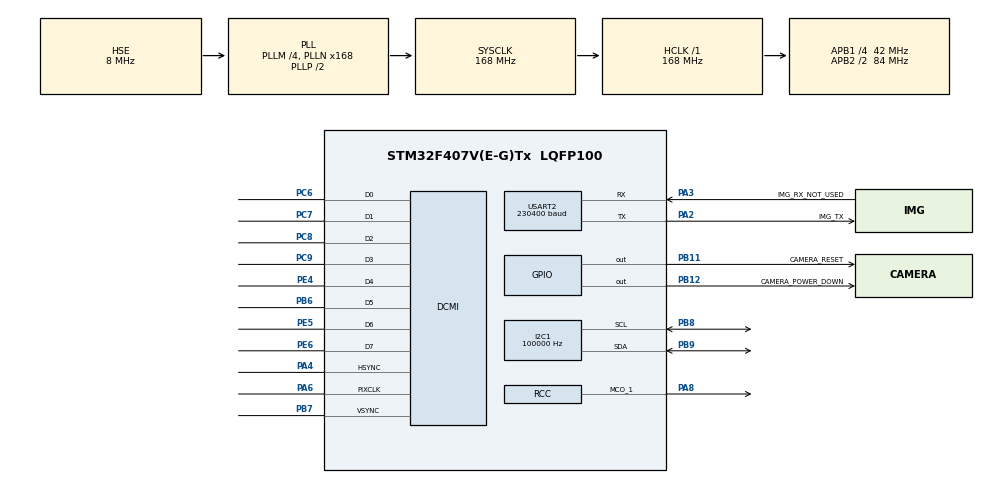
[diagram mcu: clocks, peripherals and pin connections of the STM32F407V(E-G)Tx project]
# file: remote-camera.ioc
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DCMI.JPEGMode=DCMI_JPEG_DISABLE
DCMI.PCKPolarity=DCMI_PCKPOLARITY_RISING
DCMI.VSPolarity=DCMI_VSPOLARITY_HIGH
Dma.DCMI.0.Direction=DMA_PERIPH_TO_MEMORY
Dma.DCMI.0.FIFOMode=DMA_FIFOMODE_DISABLE
Dma.DCMI.0.Instance=DMA2_Stream1
Dma.DCMI.0.MemDataAlignment=DMA_MDATAALIGN_WORD
Dma.DCMI.0.MemInc=DMA_MINC_ENABLE
Dma.DCMI.0.Mode=DMA_NORMAL
Dma.DCMI.0.PeriphDataAlignment=DMA_PDATAALIGN_WORD
Dma.DCMI.0.PeriphInc=DMA_PINC_DISABLE
Dma.DCMI.0.Priority=DMA_PRIORITY_LOW
Dma.Request0=DCMI
I2C1.ClockSpeed=100000
I2C1.I2C_Mode=I2C_Standard
Mcu.Family=STM32F4
Mcu.Name=STM32F407V(E-G)Tx
Mcu.Package=LQFP100
NVIC.DCMI_IRQn=true\:0\:0\:false\:false\:true\:true\:true\:true
NVIC.DMA2_Stream1_IRQn=true\:0\:0\:false\:false\:true\:false\:true\:true
NVIC.PriorityGroup=NVIC_PRIORITYGROUP_4
PA13.Mode=Serial_Wire
PA13.Signal=SYS_JTMS-SWDIO
PA14.Mode=Serial_Wire
PA14.Signal=SYS_JTCK-SWCLK
PA2.GPIO_Label=IMG_TX
PA2.Mode=Asynchronous
PA2.Signal=USART2_TX
PA3.GPIO_Label=IMG_RX_NOT_USED
PA3.Mode=Asynchronous
PA3.Signal=USART2_RX
PA4.GPIO_PuPd=GPIO_PULLDOWN
PA4.GPIO_Speed=GPIO_SPEED_FREQ_VERY_HIGH
PA4.Mode=Slave_8_bits_External_Synchro
PA4.Signal=DCMI_HSYNC
PA6.GPIO_PuPd=GPIO_PULLDOWN
PA6.GPIO_Speed=GPIO_SPEED_FREQ_VERY_HIGH
PA6.Mode=Slave_8_bits_External_Synchro
PA6.Signal=DCMI_PIXCLK
PA8.GPIO_Speed=GPIO_SPEED_FREQ_VERY_HIGH
PA8.Mode=Clock-out-1
PA8.Signal=RCC_MCO_1
PB11.GPIO_Label=CAMERA_RESET
PB11.Signal=GPIO_Output
PB12.GPIO_Label=CAMERA_POWER_DOWN
PB12.Signal=GPIO_Output
PB6.GPIO_PuPd=GPIO_PULLDOWN
PB6.GPIO_Speed=GPIO_SPEED_FREQ_VERY_HIGH
PB6.Mode=Slave_8_bits_External_Synchro
PB6.Signal=DCMI_D5
PB7.GPIO_PuPd=GPIO_PULLDOWN
PB7.GPIO_Speed=GPIO_SPEED_FREQ_VERY_HIGH
PB7.Mode=Slave_8_bits_External_Synchro
PB7.Signal=DCMI_VSYNC
PB8.GPIO_Pu=GPIO_PULLUP
PB8.Mode=I2C
PB8.Signal=I2C1_SCL
PB9.GPIO_Pu=GPIO_PULLUP
PB9.Mode=I2C
PB9.Signal=I2C1_SDA
PC6.GPIO_PuPd=GPIO_PULLDOWN
PC6.GPIO_Speed=GPIO_SPEED_FREQ_VERY_HIGH
PC6.Mode=Slave_8_bits_External_Synchro
PC6.Signal=DCMI_D0
PC7.GPIO_PuPd=GPIO_PULLDOWN
PC7.GPIO_Speed=GPIO_SPEED_FREQ_VERY_HIGH
PC7.Mode=Slave_8_bits_External_Synchro
PC7.Signal=DCMI_D1
PC8.GPIO_PuPd=GPIO_PULLDOWN
PC8.GPIO_Speed=GPIO_SPEED_FREQ_VERY_HIGH
PC8.Mode=Slave_8_bits_External_Synchro
PC8.Signal=DCMI_D2
PC9.GPIO_PuPd=GPIO_PULLDOWN
PC9.GPIO_Speed=GPIO_SPEED_FREQ_VERY_HIGH
PC9.Mode=Slave_8_bits_External_Synchro
PC9.Signal=DCMI_D3
PE4.GPIO_PuPd=GPIO_PULLDOWN
PE4.GPIO_Speed=GPIO_SPEED_FREQ_VERY_HIGH
PE4.Mode=Slave_8_bits_External_Synchro
PE4.Signal=DCMI_D4
PE5.GPIO_PuPd=GPIO_PULLDOWN
PE5.GPIO_Speed=GPIO_SPEED_FREQ_VERY_HIGH
PE5.Mode=Slave_8_bits_External_Synchro
PE5.Signal=DCMI_D6
PE6.GPIO_PuPd=GPIO_PULLDOWN
PE6.GPIO_Speed=GPIO_SPEED_FREQ_VERY_HIGH
PE6.Mode=Slave_8_bits_External_Synchro
PE6.Signal=DCMI_D7
PH0-OSC_IN.Mode=HSE-External-Oscillator
PH0-OSC_IN.Signal=RCC_OSC_IN
PH1-OSC_OUT.Mode=HSE-External-Oscillator
PH1-OSC_OUT.Signal=RCC_OSC_OUT
ProjectManager.HeapSize=0x200
ProjectManager.StackSize=0x400
ProjectManager.TargetToolchain=STM32CubeIDE
RCC.48MHZClocksFreq_Value=84000000
RCC.AHBFreq_Value=168000000
RCC.APB1CLKDivider=RCC_HCLK_DIV4
RCC.APB1Freq_Value=42000000
RCC.APB1TimFreq_Value=84000000
RCC.APB2CLKDivider=RCC_HCLK_DIV2
RCC.APB2Freq_Value=84000000
RCC.APB2TimFreq_Value=168000000
RCC.CortexFreq_Value=168000000
RCC.HCLKFreq_Value=168000000
RCC.HSE_VALUE=8000000
RCC.HSI_VALUE=16000000
RCC.LSE_VALUE=32768
RCC.PLLI2SN=50
RCC.PLLM=4
RCC.PLLN=168
RCC.PLLSourceVirtual=RCC_PLLSOURCE_HSE
RCC.SYSCLKFreq_VALUE=168000000
RCC.SYSCLKSource=RCC_SYSCLKSOURCE_PLLCLK
RCC.VCOOutputFreq_Value=336000000
USART2.BaudRate=230400
USART2.VirtualMode=VM_ASYNC
board=custom

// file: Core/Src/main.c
/* USER CODE BEGIN Header */
/**
  ******************************************************************************
  * @file           : main.c
  * @brief          : Main program body
  ******************************************************************************
  * @attention
  *
  * Copyright (c) 2024 STMicroelectronics.
  * All rights reserved.
  *
  * This software is licensed under terms that can be found in the LICENSE file
  * in the root directory of this software component.
  * If no LICENSE file comes with this software, it is provided AS-IS.
  *
  ******************************************************************************
  */
/* USER CODE END Header */
#include "main.h"

/* USER CODE BEGIN Includes */
#include "App/OV7670.h"
#include "App/common.h"
#include <string.h>
/* USER CODE END Includes */

DCMI_HandleTypeDef hdcmi;
DMA_HandleTypeDef hdma_dcmi;

I2C_HandleTypeDef hi2c1;

UART_HandleTypeDef huart2;

void SystemClock_Config(void);
static void MX_GPIO_Init(void);
static void MX_DMA_Init(void);
static void MX_DCMI_Init(void);
static void MX_I2C1_Init(void);
static void MX_USART2_UART_Init(void);

int main(void)
{

  /* MCU Configuration--------------------------------------------------------*/

  /* Reset of all peripherals, Initializes the Flash interface and the Systick. */
  HAL_Init();

  /* Configure the system clock */
  SystemClock_Config();

  /* Initialize all configured peripherals */
  MX_GPIO_Init();
  MX_DMA_Init();
  MX_DCMI_Init();
  MX_I2C1_Init();
  MX_USART2_UART_Init();
  /* USER CODE BEGIN 2 */

  uint16_t width, height;
  uint8_t format;

  uint16_t pixelsNumber = 160*120;
  uint32_t image_data[pixelsNumber/2];

  Camera_settings OV7670_settings={
		QQVGA, 		//Resolution
		RGB565, 	//Format
  		NORMAL, 	//Effect
  		ON,			//AEC
  		ON, 		//AGC
  		ON, 		//AWB
		OFF,		//Color bar
  		OFF,		//vertical flip
  		OFF,		//Horizontal flip
  		OFF,		//Night mode
  		OFF,		//ASC
  		ON,			//De-noise
  		ON,			//Banding filter
  		HISTOGRAM,	//AEC algorithm
  		QUARTER_FPS,//Min. fps in night mode
  		F_AUTO,		//Auto detect banding freq.
  		256, 		//Exposure - 2 bytes
  		4, 			//Gain	[0-7]=[1-128]
  		160,		//Brightness - byte
  		64, 		//Contrast - byte
  		80, 		//Saturation - byte
  		2,			//Sharpness	- [0-31]
  		0,			//De-noise strength - byte
  		x16, 		//Gain ceiling
  		77, 		//R channel gain - byte
  		103, 		//G channel gain - byte
  		153			//B channel gain - byte
  };

	OV7670_Power(OFF);

	HAL_Delay(500);

	//I2C2 is used for SCCB and LPTIM1 for XLCK generation
	OV7670_Init(&hdcmi, &hdma_dcmi, &hi2c1);

	HAL_Delay(500);

	OV7670_PowerUp();

	HAL_Delay(500);

	OV7670_UpdateSettings(OV7670_settings);

	HAL_Delay(500);

	OV7670_SetFrameRate(XCLK_DIV(1), BYPASS_PLL);

	HAL_Delay(500);

//	OV7670_Start(SNAPSHOT, image_data);

	HAL_Delay(500);

	OV7670_getImageInfo(&width,&height,&format);
	HAL_Delay(500);

//  appMain();
  /* USER CODE END 2 */

  /* Infinite loop */
  /* USER CODE BEGIN WHILE */
  while (1)
  {
	  if (image_data[0] == 0)
	  {
		  OV7670_Start(SNAPSHOT, image_data);
	  }

	  if (image_data[0] != 0)
	  {
		  uint8_t delimiter[10] = {0,1,2,3,4,5,6,7,8,9};
		  HAL_StatusTypeDef res = HAL_UART_Transmit(&huart2, delimiter, 10, 120000);

		  res = HAL_UART_Transmit(&huart2, (uint8_t *) image_data, 2 * pixelsNumber, 120000);
		  memset(image_data, 0, 2 * pixelsNumber);

		  HAL_Delay(5000);
	  }
    /* USER CODE END WHILE */

  }
}

void SystemClock_Config(void)
{
  RCC_OscInitTypeDef RCC_OscInitStruct = {0};
  RCC_ClkInitTypeDef RCC_ClkInitStruct = {0};

  /** Configure the main internal regulator output voltage
  */
  __HAL_RCC_PWR_CLK_ENABLE();
  __HAL_PWR_VOLTAGESCALING_CONFIG(PWR_REGULATOR_VOLTAGE_SCALE1);

  /** Initializes the RCC Oscillators according to the specified parameters
  * in the RCC_OscInitTypeDef structure.
  */
  RCC_OscInitStruct.OscillatorType = RCC_OSCILLATORTYPE_HSI|RCC_OSCILLATORTYPE_HSE;
  RCC_OscInitStruct.HSEState = RCC_HSE_ON;
  RCC_OscInitStruct.HSIState = RCC_HSI_ON;
  RCC_OscInitStruct.HSICalibrationValue = RCC_HSICALIBRATION_DEFAULT;
  RCC_OscInitStruct.PLL.PLLState = RCC_PLL_ON;
  RCC_OscInitStruct.PLL.PLLSource = RCC_PLLSOURCE_HSE;
  RCC_OscInitStruct.PLL.PLLM = 4;
  RCC_OscInitStruct.PLL.PLLN = 168;
  RCC_OscInitStruct.PLL.PLLP = RCC_PLLP_DIV2;
  RCC_OscInitStruct.PLL.PLLQ = 4;
  if (HAL_RCC_OscConfig(&RCC_OscInitStruct) != HAL_OK)
  {
    Error_Handler();
  }

  /** Initializes the CPU, AHB and APB buses clocks
  */
  RCC_ClkInitStruct.ClockType = RCC_CLOCKTYPE_HCLK|RCC_CLOCKTYPE_SYSCLK
                              |RCC_CLOCKTYPE_PCLK1|RCC_CLOCKTYPE_PCLK2;
  RCC_ClkInitStruct.SYSCLKSource = RCC_SYSCLKSOURCE_PLLCLK;
  RCC_ClkInitStruct.AHBCLKDivider = RCC_SYSCLK_DIV1;
  RCC_ClkInitStruct.APB1CLKDivider = RCC_HCLK_DIV4;
  RCC_ClkInitStruct.APB2CLKDivider = RCC_HCLK_DIV2;

  if (HAL_RCC_ClockConfig(&RCC_ClkInitStruct, FLASH_LATENCY_5) != HAL_OK)
  {
    Error_Handler();
  }
  HAL_RCC_MCOConfig(RCC_MCO1, RCC_MCO1SOURCE_HSI, RCC_MCODIV_1);
}

static void MX_DCMI_Init(void)
{

  hdcmi.Instance = DCMI;
  hdcmi.Init.SynchroMode = DCMI_SYNCHRO_HARDWARE;
  hdcmi.Init.PCKPolarity = DCMI_PCKPOLARITY_RISING;
  hdcmi.Init.VSPolarity = DCMI_VSPOLARITY_HIGH;
  hdcmi.Init.HSPolarity = DCMI_HSPOLARITY_LOW;
  hdcmi.Init.CaptureRate = DCMI_CR_ALL_FRAME;
  hdcmi.Init.ExtendedDataMode = DCMI_EXTEND_DATA_8B;
  hdcmi.Init.JPEGMode = DCMI_JPEG_DISABLE;
  if (HAL_DCMI_Init(&hdcmi) != HAL_OK)
  {
    Error_Handler();
  }

}

static void MX_I2C1_Init(void)
{

  hi2c1.Instance = I2C1;
  hi2c1.Init.ClockSpeed = 100000;
  hi2c1.Init.DutyCycle = I2C_DUTYCYCLE_2;
  hi2c1.Init.OwnAddress1 = 0;
  hi2c1.Init.AddressingMode = I2C_ADDRESSINGMODE_7BIT;
  hi2c1.Init.DualAddressMode = I2C_DUALADDRESS_DISABLE;
  hi2c1.Init.OwnAddress2 = 0;
  hi2c1.Init.GeneralCallMode = I2C_GENERALCALL_DISABLE;
  hi2c1.Init.NoStretchMode = I2C_NOSTRETCH_DISABLE;
  if (HAL_I2C_Init(&hi2c1) != HAL_OK)
  {
    Error_Handler();
  }

}

static void MX_USART2_UART_Init(void)
{

  huart2.Instance = USART2;
  huart2.Init.BaudRate = 230400;
  huart2.Init.WordLength = UART_WORDLENGTH_8B;
  huart2.Init.StopBits = UART_STOPBITS_1;
  huart2.Init.Parity = UART_PARITY_NONE;
  huart2.Init.Mode = UART_MODE_TX_RX;
  huart2.Init.HwFlowCtl = UART_HWCONTROL_NONE;
  huart2.Init.OverSampling = UART_OVERSAMPLING_16;
  if (HAL_UART_Init(&huart2) != HAL_OK)
  {
    Error_Handler();
  }

}

static void MX_DMA_Init(void)
{

  /* DMA controller clock enable */
  __HAL_RCC_DMA2_CLK_ENABLE();

  /* DMA interrupt init */
  /* DMA2_Stream1_IRQn interrupt configuration */
  HAL_NVIC_SetPriority(DMA2_Stream1_IRQn, 0, 0);
  HAL_NVIC_EnableIRQ(DMA2_Stream1_IRQn);

}

static void MX_GPIO_Init(void)
{
  GPIO_InitTypeDef GPIO_InitStruct = {0};

  /* GPIO Ports Clock Enable */
  __HAL_RCC_GPIOE_CLK_ENABLE();
  __HAL_RCC_GPIOH_CLK_ENABLE();
  __HAL_RCC_GPIOA_CLK_ENABLE();
  __HAL_RCC_GPIOB_CLK_ENABLE();
  __HAL_RCC_GPIOC_CLK_ENABLE();

  /*Configure GPIO pin Output Level */
  HAL_GPIO_WritePin(GPIOB, CAMERA_RESET_Pin|CAMERA_POWER_DOWN_Pin, GPIO_PIN_RESET);

  /*Configure GPIO pins : CAMERA_RESET_Pin CAMERA_POWER_DOWN_Pin */
  GPIO_InitStruct.Pin = CAMERA_RESET_Pin|CAMERA_POWER_DOWN_Pin;
  GPIO_InitStruct.Mode = GPIO_MODE_OUTPUT_PP;
  GPIO_InitStruct.Pull = GPIO_NOPULL;
  GPIO_InitStruct.Speed = GPIO_SPEED_FREQ_LOW;
  HAL_GPIO_Init(GPIOB, &GPIO_InitStruct);

  /*Configure GPIO pin : PA8 */
  GPIO_InitStruct.Pin = GPIO_PIN_8;
  GPIO_InitStruct.Mode = GPIO_MODE_AF_PP;
  GPIO_InitStruct.Pull = GPIO_NOPULL;
  GPIO_InitStruct.Speed = GPIO_SPEED_FREQ_VERY_HIGH;
  GPIO_InitStruct.Alternate = GPIO_AF0_MCO;
  HAL_GPIO_Init(GPIOA, &GPIO_InitStruct);

}

void Error_Handler(void)
{
  __disable_irq();
  while (1)
  {
  }
}
